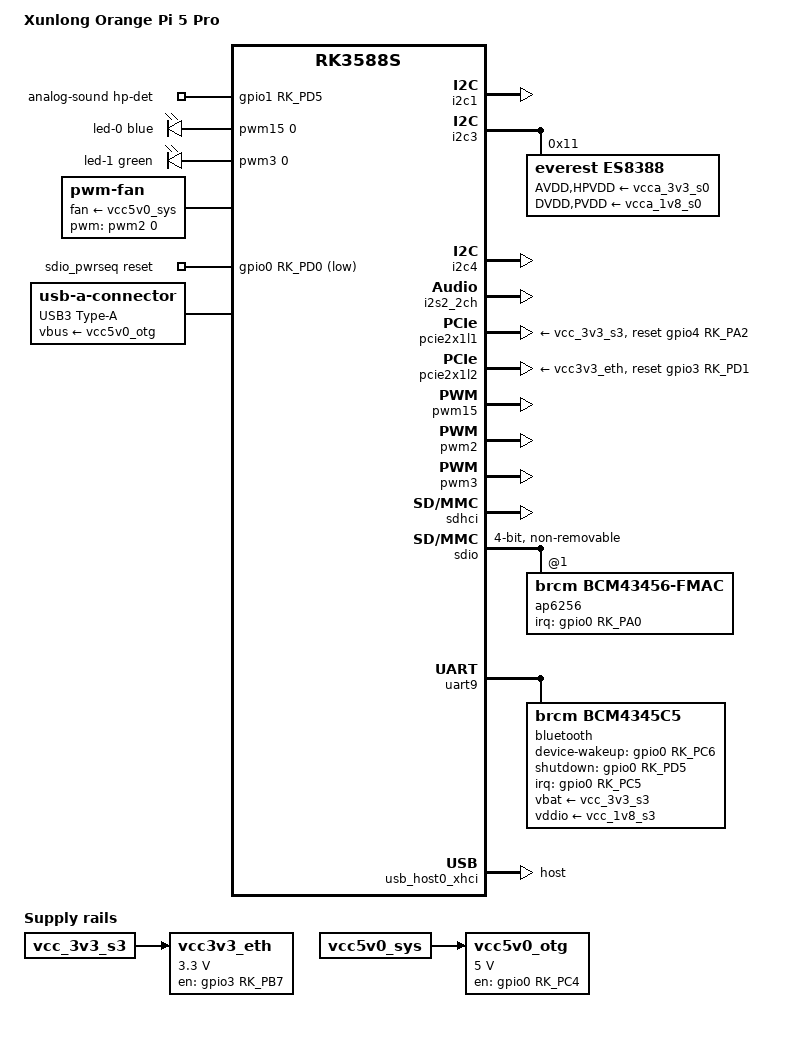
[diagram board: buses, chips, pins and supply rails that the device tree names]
// SPDX-License-Identifier: (GPL-2.0+ OR MIT)

/dts-v1/;

#include "rk3588s-orangepi-5.dtsi"

/ {
	model = "Xunlong Orange Pi 5 Pro";
	compatible = "xunlong,orangepi-5-pro", "rockchip,rk3588s";

	aliases {
		mmc0 = &sdhci;
		mmc1 = &sdmmc;
		mmc2 = &sdio;
	};

	analog-sound {
		compatible = "simple-audio-card";
		pinctrl-names = "default";
		pinctrl-0 = <&hp_detect>;
		simple-audio-card,format = "i2s";
		simple-audio-card,hp-det-gpios = <&gpio1 RK_PD5 GPIO_ACTIVE_HIGH>;
		simple-audio-card,mclk-fs = <256>;
		simple-audio-card,name = "rockchip,es8388";
		simple-audio-card,routing =
			"Headphones", "LOUT1",
			"Headphones", "ROUT1",
			"LINPUT1", "Microphone Jack",
			"RINPUT1", "Microphone Jack",
			"LINPUT2", "Onboard Microphone",
			"RINPUT2", "Onboard Microphone";
		simple-audio-card,widgets =
			"Microphone", "Microphone Jack",
			"Microphone", "Onboard Microphone",
			"Headphone", "Headphones";

		simple-audio-card,cpu {
			sound-dai = <&i2s2_2ch>;
		};

		simple-audio-card,codec {
			sound-dai = <&es8388>;
			system-clock-frequency = <12288000>;
		};
	};

	pwm-leds {
		compatible = "pwm-leds";

		led-0 {
			color = <LED_COLOR_ID_BLUE>;
			function = LED_FUNCTION_STATUS;
			linux,default-trigger = "heartbeat";
			max-brightness = <255>;
			pwms = <&pwm15 0 1000000 0>;
		};

		led-1 {
			color = <LED_COLOR_ID_GREEN>;
			function = LED_FUNCTION_ACTIVITY;
			linux,default-trigger = "heartbeat";
			max-brightness = <255>;
			pwms = <&pwm3 0 1000000 0>;
		};
	};

	fan: pwm-fan {
		compatible = "pwm-fan";
		#cooling-cells = <2>;
		cooling-levels = <0 50 100 150 200 255>;
		fan-supply = <&vcc5v0_sys>;
		pwms = <&pwm2 0 20000000 0>;
	};

	vcc3v3_eth: regulator-vcc3v3-eth {
		compatible = "regulator-fixed";
		enable-active-high;
		gpios = <&gpio3 RK_PB7 GPIO_ACTIVE_HIGH>;
		pinctrl-names = "default";
		pinctrl-0 = <&ethernet_en>;
		regulator-max-microvolt = <3300000>;
		regulator-min-microvolt = <3300000>;
		regulator-name = "vcc3v3_eth";
		startup-delay-us = <50000>;
		vin-supply = <&vcc_3v3_s3>;
	};

	vcc5v0_otg: regulator-vcc5v0-otg {
		compatible = "regulator-fixed";
		enable-active-high;
		gpios = <&gpio0 RK_PC4 GPIO_ACTIVE_HIGH>;
		pinctrl-names = "default";
		pinctrl-0 = <&vcc5v0_otg_en>;
		regulator-max-microvolt = <5000000>;
		regulator-min-microvolt = <5000000>;
		regulator-name = "vcc5v0_otg";
		vin-supply = <&vcc5v0_sys>;
	};

	sdio_pwrseq: sdio-pwrseq {
		compatible = "mmc-pwrseq-simple";
		clocks = <&hym8563>;
		clock-names = "ext_clock";
		pinctrl-names = "default";
		pinctrl-0 = <&wifi_enable_h>;
		post-power-on-delay-ms = <200>;
		reset-gpios = <&gpio0 RK_PD0 GPIO_ACTIVE_LOW>;
	};

	typea_con: usb-a-connector {
		compatible = "usb-a-connector";
		data-role = "host";
		label = "USB3 Type-A";
		power-role = "source";
		vbus-supply = <&vcc5v0_otg>;
	};
};

&i2c1 {
	pinctrl-names = "default";
	pinctrl-0 = <&i2c1m4_xfer>;
	status = "okay";
};

&i2c3 {
	pinctrl-names = "default";
	pinctrl-0 = <&i2c3m0_xfer>;
	status = "okay";

	es8388: audio-codec@11 {
		compatible = "everest,es8388", "everest,es8328";
		reg = <0x11>;
		#sound-dai-cells = <0>;
		AVDD-supply = <&vcca_3v3_s0>;
		DVDD-supply = <&vcca_1v8_s0>;
		HPVDD-supply = <&vcca_3v3_s0>;
		PVDD-supply = <&vcca_1v8_s0>;
		assigned-clock-rates = <12288000>;
		assigned-clocks = <&cru I2S2_2CH_MCLKOUT>;
		clocks = <&cru I2S2_2CH_MCLKOUT>;
		pinctrl-names = "default";
		pinctrl-0 = <&i2s2m1_mclk>;
	};
};

&i2c4 {
	pinctrl-names = "default";
	pinctrl-0 = <&i2c4m3_xfer>;
	status = "okay";
};

&i2s2_2ch {
	pinctrl-0 = <&i2s2m1_lrck &i2s2m1_sclk
		     &i2s2m1_sdi &i2s2m1_sdo>;
	status = "okay";
};

&package_thermal {
	polling-delay = <1000>;

	cooling-maps {
		map0 {
			trip = <&package_fan0>;
			cooling-device = <&fan THERMAL_NO_LIMIT 1>;
		};

		map1 {
			trip = <&package_fan1>;
			cooling-device = <&fan 2 THERMAL_NO_LIMIT>;
		};
	};

	trips {
		package_fan0: package-fan0 {
			hysteresis = <2000>;
			temperature = <55000>;
			type = "active";
		};

		package_fan1: package-fan1 {
			hysteresis = <2000>;
			temperature = <65000>;
			type = "active";
		};
	};
};

/* NVMe */
&pcie2x1l1 {
	pinctrl-names = "default";
	pinctrl-0 = <&pcie30x1m1_1_perstn>, <&pcie30x1m1_1_clkreqn>,
		    <&pcie30x1m1_1_waken>;
	reset-gpios = <&gpio4 RK_PA2 GPIO_ACTIVE_HIGH>;
	supports-clkreq;
	vpcie3v3-supply = <&vcc_3v3_s3>;
	status = "okay";
};

/* NIC */
&pcie2x1l2 {
	pinctrl-names = "default";
	pinctrl-0 = <&pcie20x1m0_perstn>, <&pcie20x1m0_clkreqn>,
		    <&pcie20x1m0_waken>;
	reset-gpios = <&gpio3 RK_PD1 GPIO_ACTIVE_HIGH>;
	vpcie3v3-supply = <&vcc3v3_eth>;
	status = "okay";
};

&pinctrl {
	bluetooth {
		bt_wake_gpio: bt-wake-pin {
			rockchip,pins = <0 RK_PC6 RK_FUNC_GPIO &pcfg_pull_down>;
		};

		bt_wake_host_irq: bt-wake-host-irq {
			rockchip,pins = <0 RK_PC5 RK_FUNC_GPIO &pcfg_pull_down>;
		};
	};

	ethernet {
		ethernet_en: ethernet-en {
			rockchip,pins = <3 RK_PB7 RK_FUNC_GPIO &pcfg_pull_down>;
		};
	};

	usb {
		vcc5v0_otg_en: vcc5v0-otg-en {
			rockchip,pins = <0 RK_PC4 RK_FUNC_GPIO &pcfg_pull_down>;
		};
	};

	wlan {
		wifi_enable_h: wifi-enable-h {
			rockchip,pins = <0 RK_PD0 RK_FUNC_GPIO &pcfg_pull_down>;
		};

		wifi_host_wake_irq: wifi-host-wake-irq {
			rockchip,pins = <0 RK_PA0 RK_FUNC_GPIO &pcfg_pull_down>;
		};
	};
};

&pwm15 {
	pinctrl-names = "default";
	pinctrl-0 = <&pwm15m2_pins>;
	status = "okay";
};

&pwm2 {
	pinctrl-names = "default";
	pinctrl-0 = <&pwm2m1_pins>;
	status = "okay";
};

&pwm3 {
	pinctrl-names = "default";
	pinctrl-0 = <&pwm3m2_pins>;
	status = "okay";
};

&rk806 {
	regulators {
		vcca_1v8_s0: pldo-reg1 {
			regulator-name = "vcca_1v8_s0";
			regulator-always-on;
			regulator-boot-on;
			regulator-min-microvolt = <1800000>;
			regulator-max-microvolt = <1800000>;

			regulator-state-mem {
				regulator-off-in-suspend;
				regulator-suspend-microvolt = <1800000>;
			};
		};

		vcc_1v8_s0: pldo-reg2 {
			regulator-name = "vcc_1v8_s0";
			regulator-always-on;
			regulator-boot-on;
			regulator-min-microvolt = <1800000>;
			regulator-max-microvolt = <1800000>;

			regulator-state-mem {
				regulator-off-in-suspend;
			};
		};
	};
};

&sdhci {
	status = "okay";
};

&sdio {
	#address-cells = <1>;
	#size-cells = <0>;
	bus-width = <4>;
	cap-sd-highspeed;
	cap-sdio-irq;
	keep-power-in-suspend;
	max-frequency = <150000000>;
	mmc-pwrseq = <&sdio_pwrseq>;
	no-mmc;
	no-sd;
	non-removable;
	sd-uhs-sdr104;
	status = "okay";

	ap6256: wifi@1 {
		compatible = "brcm,bcm43456-fmac", "brcm,bcm4329-fmac";
		reg = <1>;
		interrupt-names = "host-wake";
		interrupt-parent = <&gpio0>;
		interrupts = <RK_PA0 IRQ_TYPE_LEVEL_HIGH>;
		pinctrl-names = "default";
		pinctrl-0 = <&wifi_host_wake_irq>;
	};
};

&uart9 {
	pinctrl-names = "default";
	pinctrl-0 = <&uart9m2_xfer &uart9m2_ctsn &uart9m2_rtsn>;
	uart-has-rtscts;
	status = "okay";

	bluetooth {
		compatible = "brcm,bcm4345c5";
		clocks = <&hym8563>;
		clock-names = "lpo";
		device-wakeup-gpios = <&gpio0 RK_PC6 GPIO_ACTIVE_HIGH>;
		interrupt-names = "host-wakeup";
		interrupt-parent = <&gpio0>;
		interrupts = <RK_PC5 IRQ_TYPE_LEVEL_HIGH>;
		max-speed = <1500000>;
		pinctrl-names = "default";
		pinctrl-0 = <&bt_wake_host_irq &bt_wake_gpio>;
		shutdown-gpios = <&gpio0 RK_PD5 GPIO_ACTIVE_HIGH>;
		vbat-supply = <&vcc_3v3_s3>;
		vddio-supply = <&vcc_1v8_s3>;
	};
};

&u2phy0_otg {
	phy-supply = <&vcc5v0_otg>;
};

&usb_host0_xhci {
	dr_mode = "host";
};

&usbdp_phy0 {
	/*
	 * The USB3 Type-A host connector is wired to PHY lanes 2/3. Lanes 0/1
	 * are connected to the LT8711UXD DP-to-HDMI bridge on the board.
	 * dp-lane-mux routes USB3 SuperSpeed to the correct lanes.
	 */
	rockchip,dp-lane-mux = <0 1>;
};
